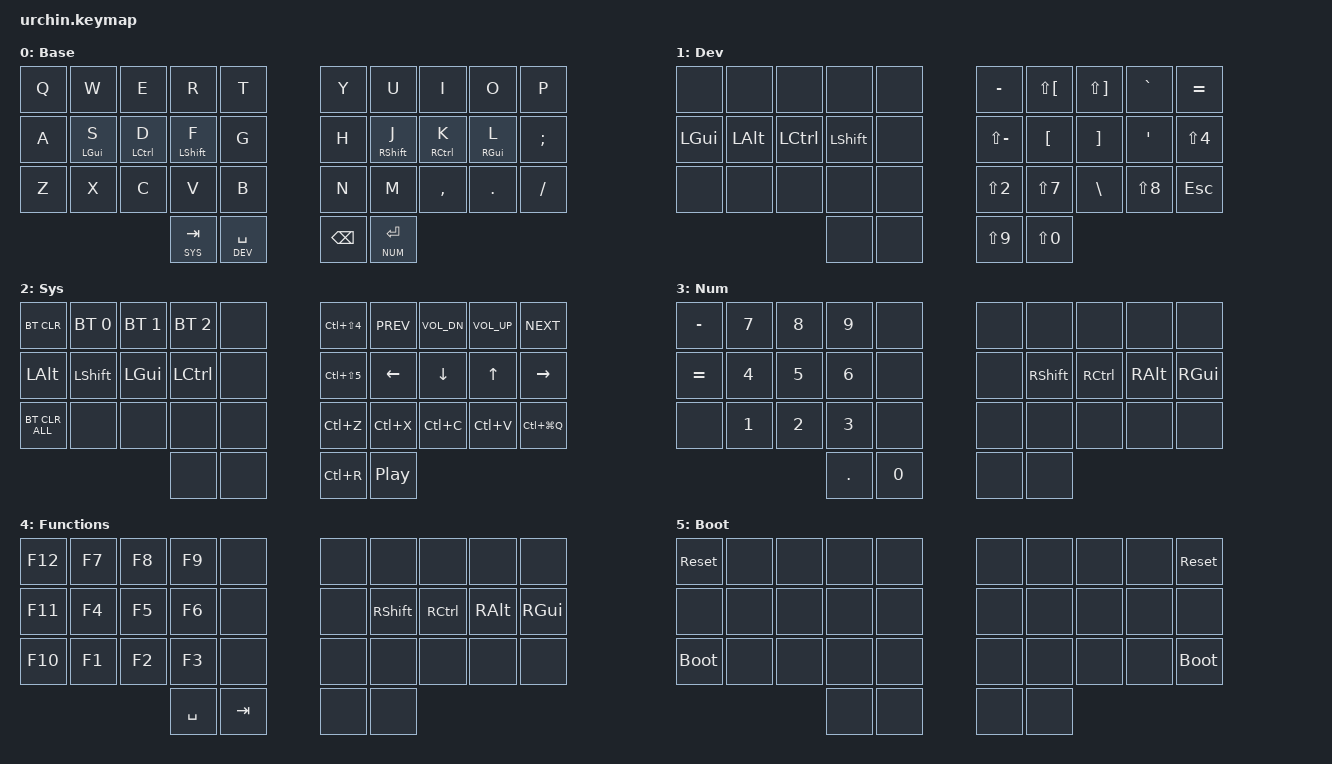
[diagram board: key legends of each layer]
#include <behaviors.dtsi>
#include <dt-bindings/zmk/keys.h>
#include <dt-bindings/zmk/bt.h>
#include <dt-bindings/zmk/outputs.h>

#define BASE 0
#define DEV  1  // Developer Hotpaths (right-hand)
#define SYS  2  // Navigation and Media (right-hand)
#define NUM  3  // Numbers and Symbols (left-hand)
#define FUN  4  // Function Keys (left-hand)
#define BOOT 5  // Bootloader and Reset (both)

&mt {
  flavor = "tap-preferred";
  tapping-term-ms = <200>;
  display-name = "Mod-Tap";
};

&lt {
  flavor = "tap-preferred";
  tapping-term-ms = <200>;
  display-name = "Layer-Tap";
};

/ {
  combos {
    compatible = "zmk,combos";
    combo_esc {
      timeout-ms = <50>;
      key-positions = <30 31>;
      bindings = <&kp ESC>;
    };
    combo_fun {
      timeout-ms = <50>;
      key-positions = <32 33>;
      bindings = <&mo FUN>;
    };
  };

  keymap {
    compatible = "zmk,keymap";
      base_layer {
        display-name = "Base";
        //  ┏━━━━━━━━━━━━━━━┳━━━━━━━━━━━━━━━┳━━━━━━━━━━━━━━━┳━━━━━━━━━━━━━━━┳━━━━━━━━━━━━━━━┓   ┏━━━━━━━━━━━━━━━┳━━━━━━━━━━━━━━━┳━━━━━━━━━━━━━━━┳━━━━━━━━━━━━━━━┳━━━━━━━━━━━━━━━┓
        //  ┃ Q             ┃ W             ┃ E             ┃ R             ┃ T             ┃   ┃ Y             ┃ U             ┃ I             ┃ O             ┃ P             ┃
        //  ┣━━━━━━━━━━━━━━━╋━━━━━━━━━━━━━━━╋━━━━━━━━━━━━━━━╋━━━━━━━━━━━━━━━╋━━━━━━━━━━━━━━━┫   ┣━━━━━━━━━━━━━━━╋━━━━━━━━━━━━━━━╋━━━━━━━━━━━━━━━╋━━━━━━━━━━━━━━━╋━━━━━━━━━━━━━━━┫
        //  ┃ A             ┃ S             ┃ D             ┃ F             ┃ G             ┃   ┃ H             ┃ J             ┃ K             ┃ L             ┃ ;             ┃
        //  ┣━━━━━━━━━━━━━━━╋━━━━━━━━━━━━━━━╋━━━━━━━━━━━━━━━╋━━━━━━━━━━━━━━━╋━━━━━━━━━━━━━━━┫   ┣━━━━━━━━━━━━━━━╋━━━━━━━━━━━━━━━╋━━━━━━━━━━━━━━━╋━━━━━━━━━━━━━━━╋━━━━━━━━━━━━━━━┫
        //  ┃ Z             ┃ X             ┃ C             ┃ V             ┃ B             ┃   ┃ N             ┃ M             ┃ ,             ┃ .             ┃ /             ┃
        //  ┗━━━━━━━━━━━━━━━┻━━━━━━━━━━━━━━━┻━━━━━━━━━━━━━━━╋━━━━━━━━━━━━━━━╋━━━━━━━━━━━━━━━┫   ┣━━━━━━━━━━━━━━━╋━━━━━━━━━━━━━━━╋━━━━━━━━━━━━━━━┻━━━━━━━━━━━━━━━┻━━━━━━━━━━━━━━━┛
        //                                                  ┃ SYS+TAB       ┃ DEV+SPACE     ┃   ┃ BSPC          ┃ NUM+RET       ┃
        //                                                  ┗━━━━━━━━━━━━━━━┻━━━━━━━━━━━━━━━┛   ┗━━━━━━━━━━━━━━━┻━━━━━━━━━━━━━━━┛
        //  combo [30+31]=ESC   combo [32+33]=FUN
        bindings = <
              &kp Q           &kp W           &kp E           &kp R           &kp T               &kp Y           &kp U           &kp I           &kp O           &kp P
              &kp A           &mt LGUI S      &mt LCTRL D     &mt LSHFT F     &kp G               &kp H           &mt RSHFT J     &mt RCTRL K     &mt RGUI L      &kp SEMI
              &kp Z           &kp X           &kp C           &kp V           &kp B               &kp N           &kp M           &kp COMMA       &kp DOT         &kp FSLH
                                                              &lt SYS TAB     &lt DEV SPACE       &kp BSPC        &lt NUM RET
        >;
      };

      dev_layer {
        display-name = "Dev";
        //  ┏━━━━━━━━━━━━━━━┳━━━━━━━━━━━━━━━┳━━━━━━━━━━━━━━━┳━━━━━━━━━━━━━━━┳━━━━━━━━━━━━━━━┓   ┏━━━━━━━━━━━━━━━┳━━━━━━━━━━━━━━━┳━━━━━━━━━━━━━━━┳━━━━━━━━━━━━━━━┳━━━━━━━━━━━━━━━┓
        //  ┃               ┃               ┃               ┃               ┃               ┃   ┃ -             ┃ {             ┃ }             ┃ `             ┃ =             ┃
        //  ┣━━━━━━━━━━━━━━━╋━━━━━━━━━━━━━━━╋━━━━━━━━━━━━━━━╋━━━━━━━━━━━━━━━╋━━━━━━━━━━━━━━━┫   ┣━━━━━━━━━━━━━━━╋━━━━━━━━━━━━━━━╋━━━━━━━━━━━━━━━╋━━━━━━━━━━━━━━━╋━━━━━━━━━━━━━━━┫
        //  ┃ GUI           ┃ ALT           ┃ CTRL          ┃ SHIFT         ┃               ┃   ┃ _             ┃ [             ┃ ]             ┃ '             ┃ $             ┃
        //  ┣━━━━━━━━━━━━━━━╋━━━━━━━━━━━━━━━╋━━━━━━━━━━━━━━━╋━━━━━━━━━━━━━━━╋━━━━━━━━━━━━━━━┫   ┣━━━━━━━━━━━━━━━╋━━━━━━━━━━━━━━━╋━━━━━━━━━━━━━━━╋━━━━━━━━━━━━━━━╋━━━━━━━━━━━━━━━┫
        //  ┃               ┃               ┃               ┃               ┃               ┃   ┃ @             ┃ &             ┃ |             ┃ *             ┃ ESC           ┃
        //  ┗━━━━━━━━━━━━━━━┻━━━━━━━━━━━━━━━┻━━━━━━━━━━━━━━━╋━━━━━━━━━━━━━━━╋━━━━━━━━━━━━━━━┫   ┣━━━━━━━━━━━━━━━╋━━━━━━━━━━━━━━━╋━━━━━━━━━━━━━━━┻━━━━━━━━━━━━━━━┻━━━━━━━━━━━━━━━┛
        //                                                  ┃               ┃               ┃   ┃ (             ┃ )             ┃
        //                                                  ┗━━━━━━━━━━━━━━━┻━━━━━━━━━━━━━━━┛   ┗━━━━━━━━━━━━━━━┻━━━━━━━━━━━━━━━┛
        bindings = <
              &none           &none           &none           &none           &none               &kp MINUS       &kp LS(LBKT)    &kp LS(RBKT)    &kp GRAVE       &kp EQUAL
              &kp LGUI        &kp LALT        &kp LCTRL       &kp LSHFT       &none               &kp LS(MINUS)   &kp LBKT        &kp RBKT        &kp SQT         &kp LS(N4)
              &none           &none           &none           &none           &none               &kp LS(N2)      &kp LS(N7)      &kp BSLH        &kp LS(N8)      &kp ESC
                                                              &none           &none               &kp LS(N9)      &kp LS(N0)
        >;
      };

      sys_layer {
        display-name = "Sys";
        //  ┏━━━━━━━━━━━━━━━┳━━━━━━━━━━━━━━━┳━━━━━━━━━━━━━━━┳━━━━━━━━━━━━━━━┳━━━━━━━━━━━━━━━┓   ┏━━━━━━━━━━━━━━━┳━━━━━━━━━━━━━━━┳━━━━━━━━━━━━━━━┳━━━━━━━━━━━━━━━┳━━━━━━━━━━━━━━━┓
        //  ┃ BT_CLR        ┃ BT_SEL 0      ┃ BT_SEL 1      ┃ BT_SEL 2      ┃               ┃   ┃ SCREENSHOT    ┃ PREV          ┃ VOL-          ┃ VOL+          ┃ NEXT          ┃
        //  ┣━━━━━━━━━━━━━━━╋━━━━━━━━━━━━━━━╋━━━━━━━━━━━━━━━╋━━━━━━━━━━━━━━━╋━━━━━━━━━━━━━━━┫   ┣━━━━━━━━━━━━━━━╋━━━━━━━━━━━━━━━╋━━━━━━━━━━━━━━━╋━━━━━━━━━━━━━━━╋━━━━━━━━━━━━━━━┫
        //  ┃ ALT           ┃ SHIFT         ┃ GUI           ┃ CTRL          ┃               ┃   ┃ SCREENSHOT+   ┃ ←             ┃ ↓             ┃ ↑             ┃ →             ┃
        //  ┣━━━━━━━━━━━━━━━╋━━━━━━━━━━━━━━━╋━━━━━━━━━━━━━━━╋━━━━━━━━━━━━━━━╋━━━━━━━━━━━━━━━┫   ┣━━━━━━━━━━━━━━━╋━━━━━━━━━━━━━━━╋━━━━━━━━━━━━━━━╋━━━━━━━━━━━━━━━╋━━━━━━━━━━━━━━━┫
        //  ┃ BT_CLR_ALL    ┃               ┃               ┃               ┃               ┃   ┃ UNDO          ┃ CUT           ┃ COPY          ┃ PASTE         ┃ LOCK SCREEN   ┃
        //  ┗━━━━━━━━━━━━━━━┻━━━━━━━━━━━━━━━┻━━━━━━━━━━━━━━━╋━━━━━━━━━━━━━━━╋━━━━━━━━━━━━━━━┫   ┣━━━━━━━━━━━━━━━╋━━━━━━━━━━━━━━━╋━━━━━━━━━━━━━━━┻━━━━━━━━━━━━━━━┻━━━━━━━━━━━━━━━┛
        //                                                  ┃               ┃               ┃   ┃ REFRESH       ┃ PLAY          ┃
        //                                                  ┗━━━━━━━━━━━━━━━┻━━━━━━━━━━━━━━━┛   ┗━━━━━━━━━━━━━━━┻━━━━━━━━━━━━━━━┛
        bindings = <
              &bt BT_CLR      &bt BT_SEL 0    &bt BT_SEL 1    &bt BT_SEL 2    &none               &kp LC(LS(N4))  &kp C_PREV      &kp C_VOL_DN    &kp C_VOL_UP    &kp C_NEXT
              &kp LALT        &kp LSHFT       &kp LGUI        &kp LCTRL       &none               &kp LC(LS(N5))  &kp LEFT        &kp DOWN        &kp UP          &kp RIGHT
              &bt BT_CLR_ALL  &none           &none           &none           &none               &kp LC(Z)       &kp LC(X)       &kp LC(C)       &kp LC(V)       &kp LC(LG(Q))
                                                              &none           &none               &kp LC(R)       &kp C_PP
        >;
      };

      num_layer {
        display-name = "Num";
        //  ┏━━━━━━━━━━━━━━━┳━━━━━━━━━━━━━━━┳━━━━━━━━━━━━━━━┳━━━━━━━━━━━━━━━┳━━━━━━━━━━━━━━━┓   ┏━━━━━━━━━━━━━━━┳━━━━━━━━━━━━━━━┳━━━━━━━━━━━━━━━┳━━━━━━━━━━━━━━━┳━━━━━━━━━━━━━━━┓
        //  ┃ -             ┃ 7             ┃ 8             ┃ 9             ┃               ┃   ┃               ┃               ┃               ┃               ┃               ┃
        //  ┣━━━━━━━━━━━━━━━╋━━━━━━━━━━━━━━━╋━━━━━━━━━━━━━━━╋━━━━━━━━━━━━━━━╋━━━━━━━━━━━━━━━┫   ┣━━━━━━━━━━━━━━━╋━━━━━━━━━━━━━━━╋━━━━━━━━━━━━━━━╋━━━━━━━━━━━━━━━╋━━━━━━━━━━━━━━━┫
        //  ┃ =             ┃ 4             ┃ 5             ┃ 6             ┃               ┃   ┃               ┃ SHIFT         ┃ CTRL          ┃ ALT           ┃ GUI           ┃
        //  ┣━━━━━━━━━━━━━━━╋━━━━━━━━━━━━━━━╋━━━━━━━━━━━━━━━╋━━━━━━━━━━━━━━━╋━━━━━━━━━━━━━━━┫   ┣━━━━━━━━━━━━━━━╋━━━━━━━━━━━━━━━╋━━━━━━━━━━━━━━━╋━━━━━━━━━━━━━━━╋━━━━━━━━━━━━━━━┫
        //  ┃               ┃ 1             ┃ 2             ┃ 3             ┃               ┃   ┃               ┃               ┃               ┃               ┃               ┃
        //  ┗━━━━━━━━━━━━━━━┻━━━━━━━━━━━━━━━┻━━━━━━━━━━━━━━━╋━━━━━━━━━━━━━━━╋━━━━━━━━━━━━━━━┫   ┣━━━━━━━━━━━━━━━╋━━━━━━━━━━━━━━━╋━━━━━━━━━━━━━━━┻━━━━━━━━━━━━━━━┻━━━━━━━━━━━━━━━┛
        //                                                  ┃ .             ┃ 0             ┃   ┃               ┃               ┃
        //                                                  ┗━━━━━━━━━━━━━━━┻━━━━━━━━━━━━━━━┛   ┗━━━━━━━━━━━━━━━┻━━━━━━━━━━━━━━━┛
        bindings = <
              &kp MINUS       &kp N7          &kp N8          &kp N9          &none               &none           &none           &none           &none           &none
              &kp EQUAL       &kp N4          &kp N5          &kp N6          &none               &none           &kp RSHFT       &kp RCTRL       &kp RALT        &kp RGUI
              &none           &kp N1          &kp N2          &kp N3          &none               &none           &none           &none           &none           &none
                                                              &kp DOT         &kp N0              &none           &none
        >;
      };

      fun_layer {
        display-name = "Functions";
        //  ┏━━━━━━━━━━━━━━━┳━━━━━━━━━━━━━━━┳━━━━━━━━━━━━━━━┳━━━━━━━━━━━━━━━┳━━━━━━━━━━━━━━━┓   ┏━━━━━━━━━━━━━━━┳━━━━━━━━━━━━━━━┳━━━━━━━━━━━━━━━┳━━━━━━━━━━━━━━━┳━━━━━━━━━━━━━━━┓
        //  ┃ F12           ┃ F7            ┃ F8            ┃ F9            ┃               ┃   ┃               ┃               ┃               ┃               ┃               ┃
        //  ┣━━━━━━━━━━━━━━━╋━━━━━━━━━━━━━━━╋━━━━━━━━━━━━━━━╋━━━━━━━━━━━━━━━╋━━━━━━━━━━━━━━━┫   ┣━━━━━━━━━━━━━━━╋━━━━━━━━━━━━━━━╋━━━━━━━━━━━━━━━╋━━━━━━━━━━━━━━━╋━━━━━━━━━━━━━━━┫
        //  ┃ F11           ┃ F4            ┃ F5            ┃ F6            ┃               ┃   ┃               ┃ SHIFT         ┃ CTRL          ┃ ALT           ┃ GUI           ┃
        //  ┣━━━━━━━━━━━━━━━╋━━━━━━━━━━━━━━━╋━━━━━━━━━━━━━━━╋━━━━━━━━━━━━━━━╋━━━━━━━━━━━━━━━┫   ┣━━━━━━━━━━━━━━━╋━━━━━━━━━━━━━━━╋━━━━━━━━━━━━━━━╋━━━━━━━━━━━━━━━╋━━━━━━━━━━━━━━━┫
        //  ┃ F10           ┃ F1            ┃ F2            ┃ F3            ┃               ┃   ┃               ┃               ┃               ┃               ┃               ┃
        //  ┗━━━━━━━━━━━━━━━┻━━━━━━━━━━━━━━━┻━━━━━━━━━━━━━━━╋━━━━━━━━━━━━━━━╋━━━━━━━━━━━━━━━┫   ┣━━━━━━━━━━━━━━━╋━━━━━━━━━━━━━━━╋━━━━━━━━━━━━━━━┻━━━━━━━━━━━━━━━┻━━━━━━━━━━━━━━━┛
        //                                                  ┃ SPACE         ┃ TAB           ┃   ┃               ┃               ┃
        //                                                  ┗━━━━━━━━━━━━━━━┻━━━━━━━━━━━━━━━┛   ┗━━━━━━━━━━━━━━━┻━━━━━━━━━━━━━━━┛
        bindings = <
              &kp F12         &kp F7          &kp F8          &kp F9          &none               &none           &none           &none           &none           &none
              &kp F11         &kp F4          &kp F5          &kp F6          &none               &none           &kp RSHFT       &kp RCTRL       &kp RALT        &kp RGUI
              &kp F10         &kp F1          &kp F2          &kp F3          &none               &none           &none           &none           &none           &none
                                                              &kp SPACE       &kp TAB             &none           &none
        >;
      };

      boot_layer {
        display-name = "Boot";
        //  ┏━━━━━━━━━━━━━━━┳━━━━━━━━━━━━━━━┳━━━━━━━━━━━━━━━┳━━━━━━━━━━━━━━━┳━━━━━━━━━━━━━━━┓   ┏━━━━━━━━━━━━━━━┳━━━━━━━━━━━━━━━┳━━━━━━━━━━━━━━━┳━━━━━━━━━━━━━━━┳━━━━━━━━━━━━━━━┓
        //  ┃ SYS RESET     ┃               ┃               ┃               ┃               ┃   ┃               ┃               ┃               ┃               ┃ SYS RESET     ┃
        //  ┣━━━━━━━━━━━━━━━╋━━━━━━━━━━━━━━━╋━━━━━━━━━━━━━━━╋━━━━━━━━━━━━━━━╋━━━━━━━━━━━━━━━┫   ┣━━━━━━━━━━━━━━━╋━━━━━━━━━━━━━━━╋━━━━━━━━━━━━━━━╋━━━━━━━━━━━━━━━╋━━━━━━━━━━━━━━━┫
        //  ┃               ┃               ┃               ┃               ┃               ┃   ┃               ┃               ┃               ┃               ┃               ┃
        //  ┣━━━━━━━━━━━━━━━╋━━━━━━━━━━━━━━━╋━━━━━━━━━━━━━━━╋━━━━━━━━━━━━━━━╋━━━━━━━━━━━━━━━┫   ┣━━━━━━━━━━━━━━━╋━━━━━━━━━━━━━━━╋━━━━━━━━━━━━━━━╋━━━━━━━━━━━━━━━╋━━━━━━━━━━━━━━━┫
        //  ┃ BOOTLOAD      ┃               ┃               ┃               ┃               ┃   ┃               ┃               ┃               ┃               ┃ BOOTLOAD      ┃
        //  ┗━━━━━━━━━━━━━━━┻━━━━━━━━━━━━━━━┻━━━━━━━━━━━━━━━╋━━━━━━━━━━━━━━━╋━━━━━━━━━━━━━━━┫   ┣━━━━━━━━━━━━━━━╋━━━━━━━━━━━━━━━╋━━━━━━━━━━━━━━━┻━━━━━━━━━━━━━━━┻━━━━━━━━━━━━━━━┛
        //                                                  ┃               ┃               ┃   ┃               ┃               ┃
        //                                                  ┗━━━━━━━━━━━━━━━┻━━━━━━━━━━━━━━━┛   ┗━━━━━━━━━━━━━━━┻━━━━━━━━━━━━━━━┛
        bindings = <
              &sys_reset      &none           &none           &none           &none               &none           &none           &none           &none           &sys_reset
              &none           &none           &none           &none           &none               &none           &none           &none           &none           &none
              &bootloader     &none           &none           &none           &none               &none           &none           &none           &none           &bootloader
                                                              &none           &none               &none           &none
        >;
      };
    };
};
